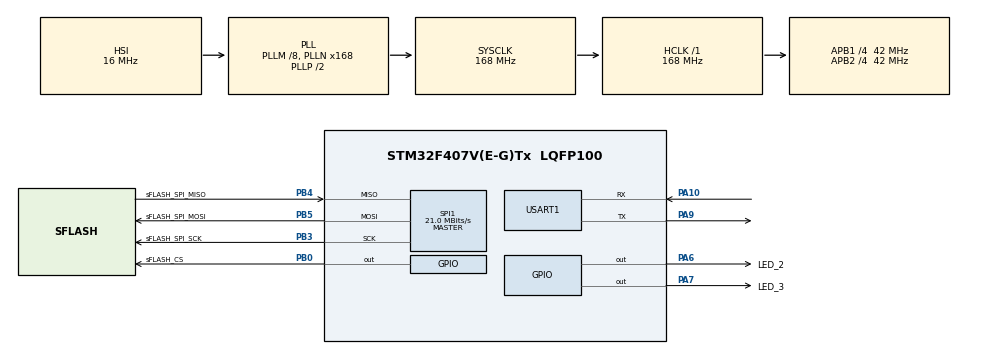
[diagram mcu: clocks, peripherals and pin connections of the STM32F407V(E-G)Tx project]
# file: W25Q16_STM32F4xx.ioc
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Mcu.Family=STM32F4
PC15-OSC32_OUT.Mode=LSE-External-Oscillator
PH0-OSC_IN.Signal=RCC_OSC_IN
RCC.CortexFreq_Value=168000000
PA10.Mode=Asynchronous
SPI1.VirtualType=VM_MASTER
PA6.GPIO_Label=LED_2
PB0.GPIO_Label=sFLASH_CS
RCC.APB1CLKDivider=RCC_HCLK_DIV4
PC14-OSC32_IN.Signal=RCC_OSC32_IN
RCC.SYSCLKSource=RCC_SYSCLKSOURCE_PLLCLK
ProjectManager.StackSize=0x400
PB0.GPIO_Speed=GPIO_SPEED_FREQ_VERY_HIGH
PA13.Signal=SYS_JTMS-SWDIO
PA9.Mode=Asynchronous
ProjectManager.TargetToolchain=STM32CubeIDE
PB0.PinState=GPIO_PIN_SET
SPI1.Direction=SPI_DIRECTION_2LINES
RCC.HCLKFreq_Value=168000000
RCC.APB2TimFreq_Value=84000000
PA9.Signal=USART1_TX
SPI1.CalculateBaudRate=21.0 MBits/s
PC15-OSC32_OUT.Signal=RCC_OSC32_OUT
RCC.AHBFreq_Value=168000000
PH0-OSC_IN.Mode=HSE-External-Oscillator
RCC.HSE_VALUE=25000000
PB3.Mode=Full_Duplex_Master
board=custom
RCC.VCOOutputFreq_Value=336000000
RCC.APB2Freq_Value=42000000
PB4.Mode=Full_Duplex_Master
PC14-OSC32_IN.Mode=LSE-External-Oscillator
PB4.GPIO_Label=sFLASH_SPI_MISO
SPI1.Mode=SPI_MODE_MASTER
PA14.Mode=Serial_Wire
PB5.Mode=Full_Duplex_Master
PH1-OSC_OUT.Signal=RCC_OSC_OUT
PA13.Mode=Serial_Wire
Mcu.Name=STM32F407V(E-G)Tx
PH1-OSC_OUT.Mode=HSE-External-Oscillator
RCC.48MHZClocksFreq_Value=84000000
PB3.Signal=SPI1_SCK
RCC.SYSCLKFreq_VALUE=168000000
Mcu.Package=LQFP100
PB5.Signal=SPI1_MOSI
PA6.Signal=GPIO_Output
PA7.GPIO_Label=LED_3
USART1.VirtualMode=VM_ASYNC
PA10.Signal=USART1_RX
PA14.Signal=SYS_JTCK-SWCLK
ProjectManager.HeapSize=0x200
RCC.HSI_VALUE=16000000
NVIC.PriorityGroup=NVIC_PRIORITYGROUP_4
RCC.APB2CLKDivider=RCC_HCLK_DIV4
PB5.GPIO_Label=sFLASH_SPI_MOSI
RCC.PLLM=8
RCC.PLLN=168
RCC.APB1TimFreq_Value=84000000
RCC.APB1Freq_Value=42000000
PB0.Signal=GPIO_Output
PB0.GPIO_PuPd=GPIO_NOPULL
PB4.Signal=SPI1_MISO
PA7.Signal=GPIO_Output
PB3.GPIO_Label=sFLASH_SPI_SCK

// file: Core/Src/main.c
/* USER CODE BEGIN Header */
/**
  ******************************************************************************
  * @file           : main.c
  * @brief          : Main program body
  ******************************************************************************
  * @attention
  *
  * <h2><center>&copy; Copyright (c) 2021 STMicroelectronics.
  * All rights reserved.</center></h2>
  *
  * This software component is licensed by ST under BSD 3-Clause license,
  * the "License"; You may not use this file except in compliance with the
  * License. You may obtain a copy of the License at:
  *                        opensource.org/licenses/BSD-3-Clause
  *
  ******************************************************************************
  */
/* USER CODE END Header */
#include "main.h"
#include "spi.h"
#include "usart.h"
#include "gpio.h"

/* USER CODE BEGIN Includes */
#include "stdio.h"
#include "sFlash.h"

/* USER CODE END Includes */

/* USER CODE BEGIN PD */
#define ADDRESS 0x00000000
#define SIZE 512

/* USER CODE END PD */

void SystemClock_Config(void);

int main(void)
{

  /* MCU Configuration--------------------------------------------------------*/

  /* Reset of all peripherals, Initializes the Flash interface and the Systick. */
  HAL_Init();

  /* Configure the system clock */
  SystemClock_Config();

  /* Initialize all configured peripherals */
  MX_GPIO_Init();
  MX_SPI1_Init();
  MX_USART1_UART_Init();
  /* USER CODE BEGIN 2 */

  uint32_t ident = 0;
  uint8_t bufferTest1[SIZE]={
 		  0x61,0x62,0x63,0x64,0x65,0x66,0x67,0x68,0x69,0x6A,0x6B,0x6C,0x6D,0x6E,0x6F,0x70,
 		  0x61,0x62,0x63,0x64,0x65,0x66,0x67,0x68,0x69,0x6A,0x6B,0x6C,0x6D,0x6E,0x6F,0x70,
 		  0x61,0x62,0x63,0x64,0x65,0x66,0x67,0x68,0x69,0x6A,0x6B,0x6C,0x6D,0x6E,0x6F,0x70,
 		  	  0x61,0x62,0x63,0x64,0x65,0x66,0x67,0x68,0x69,0x6A,0x6B,0x6C,0x6D,0x6E,0x6F,0x70,
 		  0x61,0x62,0x63,0x64,0x65,0x66,0x67,0x68,0x69,0x6A,0x6B,0x6C,0x6D,0x6E,0x6F,0x70,
 		  0x61,0x62,0x63,0x64,0x65,0x66,0x67,0x68,0x69,0x6A,0x6B,0x6C,0x6D,0x6E,0x6F,0x70,
 		  0x61,0x62,0x63,0x64,0x65,0x66,0x67,0x68,0x69,0x6A,0x6B,0x6C,0x6D,0x6E,0x6F,0x70,
 		  	  	  0x61,0x62,0x63,0x64,0x65,0x66,0x67,0x68,0x69,0x6A,0x6B,0x6C,0x6D,0x6E,0x6F,0x70,
 		  0x61,0x62,0x63,0x64,0x65,0x66,0x67,0x68,0x69,0x6A,0x6B,0x6C,0x6D,0x6E,0x6F,0x70,
 		  0x61,0x62,0x63,0x64,0x65,0x66,0x67,0x68,0x69,0x6A,0x6B,0x6C,0x6D,0x6E,0x6F,0x70,
 		  0x61,0x62,0x63,0x64,0x65,0x66,0x67,0x68,0x69,0x6A,0x6B,0x6C,0x6D,0x6E,0x6F,0x70,
 		  	  0x61,0x62,0x63,0x64,0x65,0x66,0x67,0x68,0x69,0x6A,0x6B,0x6C,0x6D,0x6E,0x6F,0x70,
 		  0x61,0x62,0x63,0x64,0x65,0x66,0x67,0x68,0x69,0x6A,0x6B,0x6C,0x6D,0x6E,0x6F,0x70,
 		  0x61,0x62,0x63,0x64,0x65,0x66,0x67,0x68,0x69,0x6A,0x6B,0x6C,0x6D,0x6E,0x6F,0x70,
 		  0x61,0x62,0x63,0x64,0x65,0x66,0x67,0x68,0x69,0x6A,0x6B,0x6C,0x6D,0x6E,0x6F,0x70,
 		  	  	  	  0x61,0x62,0x63,0x64,0x65,0x66,0x67,0x68,0x69,0x6A,0x6B,0x6C,0x6D,0x6E,0x6F,0x70,
 		  0x61,0x62,0x63,0x64,0x65,0x66,0x67,0x68,0x69,0x6A,0x6B,0x6C,0x6D,0x6E,0x6F,0x70,
 		  0x61,0x62,0x63,0x64,0x65,0x66,0x67,0x68,0x69,0x6A,0x6B,0x6C,0x6D,0x6E,0x6F,0x70,
 		  0x61,0x62,0x63,0x64,0x65,0x66,0x67,0x68,0x69,0x6A,0x6B,0x6C,0x6D,0x6E,0x6F,0x70,
 		  	  0x61,0x62,0x63,0x64,0x65,0x66,0x67,0x68,0x69,0x6A,0x6B,0x6C,0x6D,0x6E,0x6F,0x70,
 		  0x61,0x62,0x63,0x64,0x65,0x66,0x67,0x68,0x69,0x6A,0x6B,0x6C,0x6D,0x6E,0x6F,0x70,
 		  0x61,0x62,0x63,0x64,0x65,0x66,0x67,0x68,0x69,0x6A,0x6B,0x6C,0x6D,0x6E,0x6F,0x70,
 		  0x61,0x62,0x63,0x64,0x65,0x66,0x67,0x68,0x69,0x6A,0x6B,0x6C,0x6D,0x6E,0x6F,0x70,
 		  	  	  0x61,0x62,0x63,0x64,0x65,0x66,0x67,0x68,0x69,0x6A,0x6B,0x6C,0x6D,0x6E,0x6F,0x70,
 		  0x61,0x62,0x63,0x64,0x65,0x66,0x67,0x68,0x69,0x6A,0x6B,0x6C,0x6D,0x6E,0x6F,0x70,
 		  0x61,0x62,0x63,0x64,0x65,0x66,0x67,0x68,0x69,0x6A,0x6B,0x6C,0x6D,0x6E,0x6F,0x70,
 		  0x61,0x62,0x63,0x64,0x65,0x66,0x67,0x68,0x69,0x6A,0x6B,0x6C,0x6D,0x6E,0x6F,0x70,
 		  	  0x61,0x62,0x63,0x64,0x65,0x66,0x67,0x68,0x69,0x6A,0x6B,0x6C,0x6D,0x6E,0x6F,0x70,
 		  0x61,0x62,0x63,0x64,0x65,0x66,0x67,0x68,0x69,0x6A,0x6B,0x6C,0x6D,0x6E,0x6F,0x70,
 		  0x61,0x62,0x63,0x64,0x65,0x66,0x67,0x68,0x69,0x6A,0x6B,0x6C,0x6D,0x6E,0x6F,0x70,
 		  0x61,0x62,0x63,0x64,0x65,0x66,0x67,0x68,0x69,0x6A,0x6B,0x6C,0x6D,0x6E,0x6F,0x70,
 		  	  	  	  0x61,0x62,0x63,0x64,0x65,0x66,0x67,0x68,0x69,0x6A,0x6B,0x6C,0x6D,0x6E,0x6F,0x70,

   };
   uint8_t bufferTest2[SIZE];

   sFLASH_EraseBulk();
   sFLASH_ReadBuffer((uint8_t*)&bufferTest2, ADDRESS, SIZE);
   sFLASH_WriteBuffer((uint8_t*)&bufferTest1, ADDRESS, SIZE);
   sFLASH_ReadBuffer((uint8_t*)&bufferTest2, ADDRESS, SIZE);

   sFLASH_EraseSector(ADDRESS);
   sFLASH_ReadBuffer((uint8_t*)&bufferTest2, ADDRESS, SIZE);
   sFLASH_WriteBuffer((uint8_t*)&bufferTest1, ADDRESS, SIZE);
   sFLASH_ReadBuffer((uint8_t*)&bufferTest2, ADDRESS, SIZE);

  /* USER CODE END 2 */

  /* Infinite loop */
  while (1)
  {

    /* USER CODE BEGIN 3 */
	  ident = sFLASH_ReadID();

	  HAL_GPIO_WritePin(LED_2_GPIO_Port, LED_2_Pin, SET);
	  HAL_GPIO_WritePin(LED_3_GPIO_Port, LED_3_Pin, RESET);
	  HAL_Delay(400);
	  HAL_GPIO_WritePin(LED_2_GPIO_Port, LED_2_Pin, RESET);
	  HAL_GPIO_WritePin(LED_3_GPIO_Port, LED_3_Pin, SET);
	  HAL_Delay(400);
  }
  /* USER CODE END 3 */
}

void SystemClock_Config(void)
{
  RCC_OscInitTypeDef RCC_OscInitStruct = {0};
  RCC_ClkInitTypeDef RCC_ClkInitStruct = {0};

  /** Configure the main internal regulator output voltage
  */
  __HAL_RCC_PWR_CLK_ENABLE();
  __HAL_PWR_VOLTAGESCALING_CONFIG(PWR_REGULATOR_VOLTAGE_SCALE1);
  /** Initializes the RCC Oscillators according to the specified parameters
  * in the RCC_OscInitTypeDef structure.
  */
  RCC_OscInitStruct.OscillatorType = RCC_OSCILLATORTYPE_HSI;
  RCC_OscInitStruct.HSIState = RCC_HSI_ON;
  RCC_OscInitStruct.HSICalibrationValue = RCC_HSICALIBRATION_DEFAULT;
  RCC_OscInitStruct.PLL.PLLState = RCC_PLL_ON;
  RCC_OscInitStruct.PLL.PLLSource = RCC_PLLSOURCE_HSI;
  RCC_OscInitStruct.PLL.PLLM = 8;
  RCC_OscInitStruct.PLL.PLLN = 168;
  RCC_OscInitStruct.PLL.PLLP = RCC_PLLP_DIV2;
  RCC_OscInitStruct.PLL.PLLQ = 4;
  if (HAL_RCC_OscConfig(&RCC_OscInitStruct) != HAL_OK)
  {
    Error_Handler();
  }
  /** Initializes the CPU, AHB and APB buses clocks
  */
  RCC_ClkInitStruct.ClockType = RCC_CLOCKTYPE_HCLK|RCC_CLOCKTYPE_SYSCLK
                              |RCC_CLOCKTYPE_PCLK1|RCC_CLOCKTYPE_PCLK2;
  RCC_ClkInitStruct.SYSCLKSource = RCC_SYSCLKSOURCE_PLLCLK;
  RCC_ClkInitStruct.AHBCLKDivider = RCC_SYSCLK_DIV1;
  RCC_ClkInitStruct.APB1CLKDivider = RCC_HCLK_DIV4;
  RCC_ClkInitStruct.APB2CLKDivider = RCC_HCLK_DIV4;

  if (HAL_RCC_ClockConfig(&RCC_ClkInitStruct, FLASH_LATENCY_5) != HAL_OK)
  {
    Error_Handler();
  }
}

void Error_Handler(void)
{
  __disable_irq();
  while (1)
  {
  }
}

/************************ (C) COPYRIGHT STMicroelectronics *****END OF FILE****/
